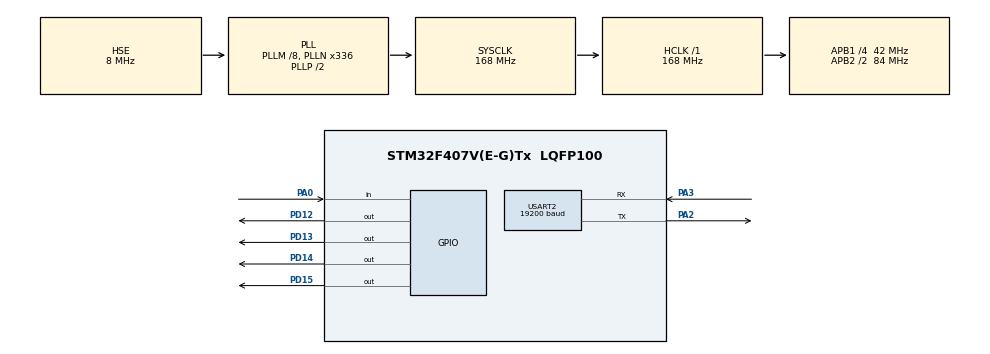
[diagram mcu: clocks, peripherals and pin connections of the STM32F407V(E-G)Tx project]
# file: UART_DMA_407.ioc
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Dma.Request0=USART2_RX
Dma.Request1=USART2_TX
Dma.USART2_RX.0.Direction=DMA_PERIPH_TO_MEMORY
Dma.USART2_RX.0.FIFOMode=DMA_FIFOMODE_DISABLE
Dma.USART2_RX.0.Instance=DMA1_Stream5
Dma.USART2_RX.0.MemDataAlignment=DMA_MDATAALIGN_BYTE
Dma.USART2_RX.0.MemInc=DMA_MINC_ENABLE
Dma.USART2_RX.0.Mode=DMA_NORMAL
Dma.USART2_RX.0.PeriphDataAlignment=DMA_PDATAALIGN_BYTE
Dma.USART2_RX.0.PeriphInc=DMA_PINC_DISABLE
Dma.USART2_RX.0.Priority=DMA_PRIORITY_LOW
Dma.USART2_TX.1.Direction=DMA_MEMORY_TO_PERIPH
Dma.USART2_TX.1.FIFOMode=DMA_FIFOMODE_DISABLE
Dma.USART2_TX.1.Instance=DMA1_Stream6
Dma.USART2_TX.1.MemDataAlignment=DMA_MDATAALIGN_BYTE
Dma.USART2_TX.1.MemInc=DMA_MINC_ENABLE
Dma.USART2_TX.1.Mode=DMA_NORMAL
Dma.USART2_TX.1.PeriphDataAlignment=DMA_PDATAALIGN_BYTE
Dma.USART2_TX.1.PeriphInc=DMA_PINC_DISABLE
Dma.USART2_TX.1.Priority=DMA_PRIORITY_LOW
Mcu.Family=STM32F4
Mcu.Name=STM32F407V(E-G)Tx
Mcu.Package=LQFP100
NVIC.DMA1_Stream5_IRQn=true\:0\:0\:false\:false\:true\:false\:true
NVIC.DMA1_Stream6_IRQn=true\:0\:0\:false\:false\:true\:false\:true
NVIC.PriorityGroup=NVIC_PRIORITYGROUP_0
NVIC.TIM1_UP_TIM10_IRQn=true\:0\:0\:false\:false\:true\:false\:true
NVIC.TimeBase=TIM1_UP_TIM10_IRQn
NVIC.TimeBaseIP=TIM1
NVIC.USART2_IRQn=true\:0\:0\:false\:false\:true\:true\:true
PA0-WKUP.Signal=GPIO_Input
PA2.Mode=Asynchronous
PA2.Signal=USART2_TX
PA3.Mode=Asynchronous
PA3.Signal=USART2_RX
PD12.Signal=GPIO_Output
PD13.Signal=GPIO_Output
PD14.Signal=GPIO_Output
PD15.Signal=GPIO_Output
PH0-OSC_IN.Mode=HSE-External-Clock-Source
PH0-OSC_IN.Signal=RCC_OSC_IN
PH1-OSC_OUT.Mode=HSE-External-Clock-Source
PH1-OSC_OUT.Signal=RCC_OSC_OUT
ProjectManager.HeapSize=0x200
ProjectManager.StackSize=0x400
ProjectManager.TargetToolchain=STM32CubeIDE
RCC.48MHZClocksFreq_Value=48000000
RCC.AHBFreq_Value=168000000
RCC.APB1CLKDivider=RCC_HCLK_DIV4
RCC.APB1Freq_Value=42000000
RCC.APB1TimFreq_Value=84000000
RCC.APB2CLKDivider=RCC_HCLK_DIV2
RCC.APB2Freq_Value=84000000
RCC.APB2TimFreq_Value=168000000
RCC.CortexFreq_Value=168000000
RCC.HCLKFreq_Value=168000000
RCC.HSE_VALUE=8000000
RCC.HSI_VALUE=16000000
RCC.LSE_VALUE=32768
RCC.PLLM=8
RCC.PLLN=336
RCC.PLLQ=7
RCC.PLLSourceVirtual=RCC_PLLSOURCE_HSE
RCC.SYSCLKFreq_VALUE=168000000
RCC.SYSCLKSource=RCC_SYSCLKSOURCE_PLLCLK
RCC.VCOOutputFreq_Value=336000000
TIM6.AutoReloadPreload=TIM_AUTORELOAD_PRELOAD_ENABLE
TIM6.Prescaler=84
USART2.BaudRate=19200
USART2.VirtualMode=VM_ASYNC
VP_SYS_VS_tim1.Mode=TIM1
VP_TIM6_VS_ClockSourceINT.Mode=Enable_Timer
board=STM32F407G-DISC1

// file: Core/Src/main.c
/* USER CODE BEGIN Header */
/**
  ******************************************************************************
  * @file           : main.c
  * @brief          : Main program body
  ******************************************************************************
  * @attention
  *
  * <h2><center>&copy; Copyright (c) 2022 STMicroelectronics.
  * All rights reserved.</center></h2>
  *
  * This software component is licensed by ST under Ultimate Liberty license
  * SLA0044, the "License"; You may not use this file except in compliance with
  * the License. You may obtain a copy of the License at:
  *                             www.st.com/SLA0044
  *
  ******************************************************************************
  */
/* USER CODE END Header */
#include "main.h"

/* USER CODE BEGIN Includes */
#include<stdio.h>
#include<stdint.h>
#include<stdlib.h>
#include<string.h>
/* USER CODE END Includes */

/* USER CODE BEGIN PTD */
#define TRUE 1
#define FALSE 0
/* USER CODE END PTD */

/* USER CODE BEGIN PD */
#ifdef __GNUC__
#define PUTCHAR_PROTOTYPE int __io_putchar(int ch)
#define GETCHAR_PROTOTYPE int __io_getchar(void)
#else
#define PUTCHAR_PROTOTYPE int fputc(int ch,FILE *F)
#define GETCHAR_PROTOTYPE int fgets(FILE *f)
#endif
//#define TEST_IT
#define TELNET
#define SPRINTF
//#define TRANSMIT_DMA
/* USER CODE END PD */

TIM_HandleTypeDef htim6;

UART_HandleTypeDef huart2;
DMA_HandleTypeDef hdma_usart2_rx;
DMA_HandleTypeDef hdma_usart2_tx;

void SystemClock_Config(void);
static void MX_GPIO_Init(void);
static void MX_DMA_Init(void);
static void MX_TIM6_Init(void);
static void MX_USART2_UART_Init(void);
static void telnet_init(void);

/* USER CODE BEGIN 0 */
typedef enum
{
	INIT = 0,
	START,
	AUTH,
	CONFIG,
	EXIT,
}UART_State_Machine;

#ifdef TEST_IT
uint8_t tx_buff[20]="Ready to Receive\n\r";
uint8_t rx_data;
uint8_t rx_buff[20];
uint8_t i=0;
#endif

#ifdef TELNET
char *user[] = {"admin", "adam1","user1","test1"};
char *pass[] = {"12345","54321","USER1","TEST1"};
char input[20],erase[4];
char input_user[10];
char input_pass[10];
uint8_t stage=INIT,flag=FALSE;
uint8_t rx_data,j=0,recieved=FALSE,count=0;
#endif
/* USER CODE END 0 */

int main(void)
{

  /* MCU Configuration--------------------------------------------------------*/

  /* Reset of all peripherals, Initializes the Flash interface and the Systick. */
  HAL_Init();

  /* Configure the system clock */
  SystemClock_Config();

  /* Initialize all configured peripherals */
  MX_GPIO_Init();
  MX_DMA_Init();
  MX_TIM6_Init();
  MX_USART2_UART_Init();

  /* USER CODE BEGIN 2 */
#ifdef TEST_IT
  HAL_UART_Transmit(&huart2, tx_buff, sizeof(tx_buff), 50);
  HAL_UART_Receive_DMA(&huart2, rx_buff, 20);
#endif

#ifdef TELNET
 // printf("Username: ");
  printf("*********************************************\r\n"
		 "*     Telnet connection started....         *\r\n "
		 "*********************************************\r\n");
  telnet_init();
#endif
  /* USER CODE END 2 */

  /* Infinite loop */
  /* USER CODE BEGIN WHILE */
  while (1)
  {

#ifdef TELNET

	  if(stage==INIT)
	  {
		  telnet_init();
	  }

	  if(recieved)
	  	{
	  		switch(stage)
	  			{
	  				case START:
	  //					if(strcmp(input,"telnet"))
	  //					{
	  //						telnet_init();
	  //					}

	  					if(strlen(input)>8)
	  					{
	  						printf("input out of range!!\r\n");
	  					}
	  					else
	  					{
	  						memcpy(input_user,input,strlen(input));
	  						memset(input,0,sizeof(input));

	  #ifdef SPRINTF
	  						sprintf(input,"\n\rPassword: ");
	  						//HAL_UART_Transmit(&huart2, input, sizeof(input), 50);
	  						HAL_UART_Transmit_DMA(&huart2, (uint8_t *)input, sizeof(input));
	  						//memset(input,0,sizeof(input));
	  #else
	  						printf("\n\rPassword: ");
	  #endif
	  						stage=AUTH;
	  						HAL_UART_Receive_DMA(&huart2,&rx_data, 1);
	  						rx_data=0;
	  						j=0;
	  						recieved=FALSE;
	  					}
	  					break;

	  				case AUTH:
	  					if(strlen(input)>8)
	  					{
	  						printf("input out of range!!\r\n");
	  					}

	  					else
	  					{
	  						memcpy(input_pass,input,strlen(input));
	  						memset(input,0,sizeof(input));

	  						for(uint8_t i=0;i<4;i++)
	  						{
	  							if((strcmp(*(user+i),input_user)==0) && (strcmp(pass[i],input_pass)==0))
	  							{
	  								printf("\r\nSuccessfully Authenticated!\r\n");

	  #ifdef SPRINTF
	  								sprintf(input,"\r\nConfig> ");
	  								//HAL_UART_Transmit(&huart2, input, sizeof(input), 50);
	  								HAL_UART_Transmit_DMA(&huart2,(uint8_t *) input, strlen(input));
	  								//memset(input,0,sizeof(input));
	  #else
	  								printf("Config> ");
	  #endif
	  								HAL_UART_Receive_DMA(&huart2,&rx_data, 1);
	  										rx_data=0;
	  										j=0;
	  										recieved=FALSE;
	  								flag=TRUE;
	  								stage=CONFIG;
	  								break;
	  							}
	  						}

	  						if(!flag)
	  						{
	  							stage=INIT;
	  							flag=FALSE;
	  							count++;
	  							j=0;

	  							if(count>3)
	  							{
	  								printf("\r\nlogin attempt excedded!!\r\n");
	  								stage=EXIT;
	  							}
	  						}
	  					}
	  						//memset(input,0,sizeof(input));
	  						break;

	  				case CONFIG:
	  					if(strcmp(input,"exit")==0 ||  strcmp(input,"Z")==0 )
	  					{
	  						printf("\r\nsession ended!!\r\n");
	  						HAL_GPIO_WritePin(GPIOD, GPIO_PIN_13, GPIO_PIN_RESET);
	  						stage=EXIT;
	  					}
	  					else
	  					{

	  						if(strcmp(input,"turn ON LED")==0)
	  						{
	  							HAL_GPIO_WritePin(GPIOD, GPIO_PIN_13, GPIO_PIN_SET);
	  							printf("\r\nLED turned ON...\r\n");
	  						}

	  						else if(strcmp(input,"turn OFF LED")==0)
	  						{
	  							HAL_GPIO_WritePin(GPIOD, GPIO_PIN_13, GPIO_PIN_RESET);
	  							printf("\r\nLED turned OFF...\r\n");
	  						}

	  						else
	  						{
	  							printf("\r\ninput is invalid\r\n");
	  						}

	  						memset(input,0,sizeof(input));
	  #ifdef SPRINTF
	  						sprintf(input,"Config> ");
	  						//HAL_UART_Transmit(&huart2, input, sizeof(input), 50);
	  						HAL_UART_Transmit_DMA(&huart2, (uint8_t *)input, strlen(input));
	  						//memset(input,0,sizeof(input));
	  #else
	  						printf("Config> ");
	  #endif
	  						HAL_UART_Receive_DMA(&huart2,&rx_data, 1);
	  										recieved=FALSE;
	  										rx_data=0;
	  										j=0;
	  					}
	  					//memset(input,0,sizeof(input));
	  					break;

	  				case EXIT:
	  					HAL_GPIO_WritePin(GPIOD, GPIO_PIN_13, GPIO_PIN_RESET);
	  					HAL_GPIO_TogglePin(GPIOD, GPIO_PIN_14);

	  					memset(input,0,sizeof(input));
	  					HAL_UART_Receive_DMA(&huart2,&rx_data, 1);
	  									recieved=FALSE;
	  									rx_data=0;
	  									j=0;

	  					break;
	  			}
	  	}

//	  	else
//	  	{
//	  		HAL_UART_Receive_DMA(&huart2,&rx_data, 1);
//	  		recieved=FALSE;
//	  	}
#endif
    /* USER CODE END WHILE */

  }
}

void SystemClock_Config(void)
{
  RCC_OscInitTypeDef RCC_OscInitStruct = {0};
  RCC_ClkInitTypeDef RCC_ClkInitStruct = {0};

  /** Configure the main internal regulator output voltage
  */
  __HAL_RCC_PWR_CLK_ENABLE();
  __HAL_PWR_VOLTAGESCALING_CONFIG(PWR_REGULATOR_VOLTAGE_SCALE1);
  /** Initializes the RCC Oscillators according to the specified parameters
  * in the RCC_OscInitTypeDef structure.
  */
  RCC_OscInitStruct.OscillatorType = RCC_OSCILLATORTYPE_HSE;
  RCC_OscInitStruct.HSEState = RCC_HSE_BYPASS;
  RCC_OscInitStruct.PLL.PLLState = RCC_PLL_ON;
  RCC_OscInitStruct.PLL.PLLSource = RCC_PLLSOURCE_HSE;
  RCC_OscInitStruct.PLL.PLLM = 8;
  RCC_OscInitStruct.PLL.PLLN = 336;
  RCC_OscInitStruct.PLL.PLLP = RCC_PLLP_DIV2;
  RCC_OscInitStruct.PLL.PLLQ = 7;
  if (HAL_RCC_OscConfig(&RCC_OscInitStruct) != HAL_OK)
  {
    Error_Handler();
  }
  /** Initializes the CPU, AHB and APB buses clocks
  */
  RCC_ClkInitStruct.ClockType = RCC_CLOCKTYPE_HCLK|RCC_CLOCKTYPE_SYSCLK
                              |RCC_CLOCKTYPE_PCLK1|RCC_CLOCKTYPE_PCLK2;
  RCC_ClkInitStruct.SYSCLKSource = RCC_SYSCLKSOURCE_PLLCLK;
  RCC_ClkInitStruct.AHBCLKDivider = RCC_SYSCLK_DIV1;
  RCC_ClkInitStruct.APB1CLKDivider = RCC_HCLK_DIV4;
  RCC_ClkInitStruct.APB2CLKDivider = RCC_HCLK_DIV2;

  if (HAL_RCC_ClockConfig(&RCC_ClkInitStruct, FLASH_LATENCY_5) != HAL_OK)
  {
    Error_Handler();
  }
}

static void MX_TIM6_Init(void)
{

  TIM_MasterConfigTypeDef sMasterConfig = {0};

  htim6.Instance = TIM6;
  htim6.Init.Prescaler = 84;
  htim6.Init.CounterMode = TIM_COUNTERMODE_UP;
  htim6.Init.Period = 65535;
  htim6.Init.AutoReloadPreload = TIM_AUTORELOAD_PRELOAD_ENABLE;
  if (HAL_TIM_Base_Init(&htim6) != HAL_OK)
  {
    Error_Handler();
  }
  sMasterConfig.MasterOutputTrigger = TIM_TRGO_RESET;
  sMasterConfig.MasterSlaveMode = TIM_MASTERSLAVEMODE_DISABLE;
  if (HAL_TIMEx_MasterConfigSynchronization(&htim6, &sMasterConfig) != HAL_OK)
  {
    Error_Handler();
  }

}

static void MX_USART2_UART_Init(void)
{

  huart2.Instance = USART2;
  huart2.Init.BaudRate = 19200;
  huart2.Init.WordLength = UART_WORDLENGTH_8B;
  huart2.Init.StopBits = UART_STOPBITS_1;
  huart2.Init.Parity = UART_PARITY_NONE;
  huart2.Init.Mode = UART_MODE_TX_RX;
  huart2.Init.HwFlowCtl = UART_HWCONTROL_NONE;
  huart2.Init.OverSampling = UART_OVERSAMPLING_16;
  if (HAL_UART_Init(&huart2) != HAL_OK)
  {
    Error_Handler();
  }

}

static void MX_DMA_Init(void)
{

  /* DMA controller clock enable */
  __HAL_RCC_DMA1_CLK_ENABLE();

  /* DMA interrupt init */
  /* DMA1_Stream5_IRQn interrupt configuration */
  HAL_NVIC_SetPriority(DMA1_Stream5_IRQn, 0, 0);
  HAL_NVIC_EnableIRQ(DMA1_Stream5_IRQn);
  /* DMA1_Stream6_IRQn interrupt configuration */
  HAL_NVIC_SetPriority(DMA1_Stream6_IRQn, 0, 0);
  HAL_NVIC_EnableIRQ(DMA1_Stream6_IRQn);

}

static void MX_GPIO_Init(void)
{
  GPIO_InitTypeDef GPIO_InitStruct = {0};

  /* GPIO Ports Clock Enable */
  __HAL_RCC_GPIOH_CLK_ENABLE();
  __HAL_RCC_GPIOA_CLK_ENABLE();
  __HAL_RCC_GPIOD_CLK_ENABLE();

  /*Configure GPIO pin Output Level */
  HAL_GPIO_WritePin(GPIOD, GPIO_PIN_12|GPIO_PIN_13|GPIO_PIN_14|GPIO_PIN_15, GPIO_PIN_RESET);

  /*Configure GPIO pin : PA0 */
  GPIO_InitStruct.Pin = GPIO_PIN_0;
  GPIO_InitStruct.Mode = GPIO_MODE_INPUT;
  GPIO_InitStruct.Pull = GPIO_NOPULL;
  HAL_GPIO_Init(GPIOA, &GPIO_InitStruct);

  /*Configure GPIO pins : PD12 PD13 PD14 PD15 */
  GPIO_InitStruct.Pin = GPIO_PIN_12|GPIO_PIN_13|GPIO_PIN_14|GPIO_PIN_15;
  GPIO_InitStruct.Mode = GPIO_MODE_OUTPUT_PP;
  GPIO_InitStruct.Pull = GPIO_NOPULL;
  GPIO_InitStruct.Speed = GPIO_SPEED_FREQ_LOW;
  HAL_GPIO_Init(GPIOD, &GPIO_InitStruct);

}

/* USER CODE BEGIN 4 */

PUTCHAR_PROTOTYPE
{  HAL_UART_Transmit(&huart2, (uint8_t *)&ch, 1, HAL_MAX_DELAY);   return ch; }

GETCHAR_PROTOTYPE
{ 	uint8_t ch = 0;
/* Clear the Overrun flag just before receiving the first character */
	__HAL_UART_CLEAR_OREFLAG(&huart2);
	HAL_UART_Receive(&huart2, (uint8_t *)&ch, 1, HAL_MAX_DELAY);
	return ch;
}

void HAL_UART_TxCpltCallback(UART_HandleTypeDef *huart)
{
	HAL_GPIO_TogglePin(GPIOD, GPIO_PIN_1);
	memset(input,0,sizeof(input));
}
void HAL_UART_RxCpltCallback(UART_HandleTypeDef *huart)
{
#ifdef TEST_IT
//	if(rx_data != '\r' || (i>sizeof(rx_buff)))
//	{
//		rx_buff[i]=rx_data;
//		i++;
//	}
//	else
//	{
//		i=0;
		memset(rx_buff,0,sizeof(rx_buff));
		sprintf(tx_buff,"\n\rData Received\r\n");
		HAL_UART_Transmit(&huart2, tx_buff, sizeof(tx_buff),50);
		HAL_GPIO_TogglePin(GPIOD, GPIO_PIN_15);
//	}
	HAL_UART_Receive_DMA(&huart2, &rx_data, 1);
//	HAL_GPIO_TogglePin(GPIOD, GPIO_PIN_14);
#endif

#ifdef TELNET

//	if(rx_data == '\b' && j>0)
//		{
//			//input[j]=0;
//			j=j-1;
//			sprintf(erase," \b");
//			HAL_UART_Transmit(&huart2, erase, sizeof(erase), 50);
//			memset(erase,0,sizeof(erase));
//			rx_data=0;
//		}

	if((rx_data != '\r') || j>(sizeof(input)) )
		{
			input[j]=rx_data;
			HAL_GPIO_TogglePin(GPIOD, GPIO_PIN_12);
			HAL_UART_Receive_DMA(&huart2,&rx_data, 1);

			j++;
		}

	else
	{
		recieved=TRUE;
		//printf("\r\n");
	}

#endif

}
void HAL_UART_ErrorCallback(UART_HandleTypeDef *huart)
{
  /* Prevent unused argument(s) compilation warning */
	huart->ErrorCode;
  /* NOTE: This function should not be modified, when the callback is needed,
           the HAL_UART_ErrorCallback could be implemented in the user file
   */
}

#ifdef TELNET
static void telnet_init(void)
  {

#ifdef SPRINTF
	  sprintf(input,"\r\nUsername: ");
	  //HAL_UART_Transmit(&huart2, input, sizeof(input), 50);
	  HAL_UART_Transmit_DMA(&huart2, (uint8_t *)input, sizeof(input));
#else
	  printf("Username :");

#endif

	  stage=START;
	  flag=FALSE;
	  rx_data=0;
	  recieved=FALSE;

	  //memset(input,0,sizeof(input));
	  memset(input_user,0,sizeof(input_user));
	  memset(input_pass,0,sizeof(input_pass));
	  HAL_UART_Receive_DMA(&huart2,&rx_data, 1);
  }
#endif
/* USER CODE END 4 */

void HAL_TIM_PeriodElapsedCallback(TIM_HandleTypeDef *htim)
{
  if (htim->Instance == TIM1) {
    HAL_IncTick();
  }
}

void Error_Handler(void)
{
  __disable_irq();
  while (1)
  {
  }
}

/************************ (C) COPYRIGHT STMicroelectronics *****END OF FILE****/
